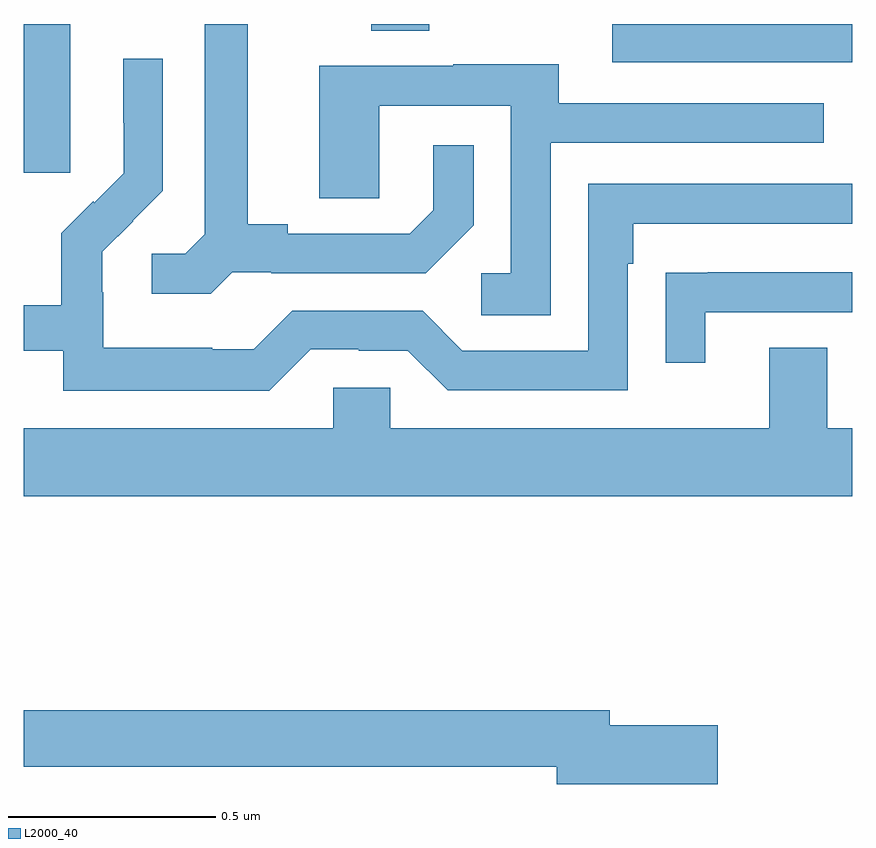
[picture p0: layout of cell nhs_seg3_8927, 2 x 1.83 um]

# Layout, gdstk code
import gdstk
lib = gdstk.Library(unit=1e-6, precision=1e-09)
def R(c, l, rs):  # rectangles x0, y0, x1, y1
    for r in rs: c.add(gdstk.rectangle(r[:2], r[2:], *l))
def P(c, l, *ps):  # polygons
    for p in ps: c.add(gdstk.Polygon(p, *l))
L2000_40 = (2000, 40)

nhs_seg3_8927 = lib.new_cell('nhs_seg3_8927')
R(nhs_seg3_8927, L2000_40, [(222,691.041,222.112,691.4), (223.421,691.308,224,691.4), (222.839,691.384,222.979,691.4)])
P(nhs_seg3_8927, L2000_40, [(222.504,690.801),(222.598,690.801),(222.598,690.798),(222.97,690.798),(223.086,690.914),(223.086,691.108),(222.989,691.108),(222.989,690.951),(222.932,690.894),(222.637,690.894),(222.637,690.917),(222.541,690.917),(222.541,691.4),(222.437,691.4),(222.437,690.893),(222.39,690.846),(222.309,690.846),(222.309,690.749),(222.452,690.749)],
  [(222.693,690.615),(222.809,690.615),(222.809,690.612),(222.927,690.612),(223.023,690.516),(223.458,690.516),(223.458,690.821),(223.471,690.821),(223.471,690.918),(224,690.918),(224,691.014),(223.362,691.014),(223.362,690.612),(223.059,690.612),(222.963,690.708),(222.648,690.708),(222.555,690.615),(222.455,690.615),(222.455,690.619),(222.192,690.619),(222.192,690.753),(222.19,690.753),(222.19,690.85),(222.264,690.924),(222.263,690.925),(222.336,690.998),(222.336,691.316),(222.24,691.316),(222.24,691.162),(222.242,691.162),(222.242,691.04),(222.171,690.969),(222.168,690.972),(222.091,690.895),(222.091,690.721),(222,690.721),(222,690.612),(222.096,690.612),(222.096,690.515),(222.593,690.515)],
  [(223.272,691.113),(223.931,691.113),(223.931,691.209),(223.291,691.209),(223.291,691.303),(223.037,691.303),(223.037,691.299),(222.713,691.299),(222.713,690.979),(222.858,690.979),(222.858,691.203),(223.176,691.203),(223.176,690.798),(223.104,690.798),(223.104,690.697),(223.272,690.697)],
  [(223.645,690.705),(224,690.705),(224,690.801),(223.651,690.801),(223.651,690.8),(223.549,690.8),(223.549,690.582),(223.645,690.582)],
  [(224,690.424),(223.939,690.424),(223.939,690.619),(223.799,690.619),(223.799,690.424),(222.885,690.424),(222.885,690.522),(222.747,690.522),(222.747,690.424),(222,690.424),(222,690.26),(224,690.26)],
  [(223.675,689.708),(223.414,689.708),(223.414,689.744),(222,689.744),(222,689.608),(223.286,689.608),(223.286,689.566),(223.675,689.566)])

lib.write_gds('nhs_seg3_8927.gds')
